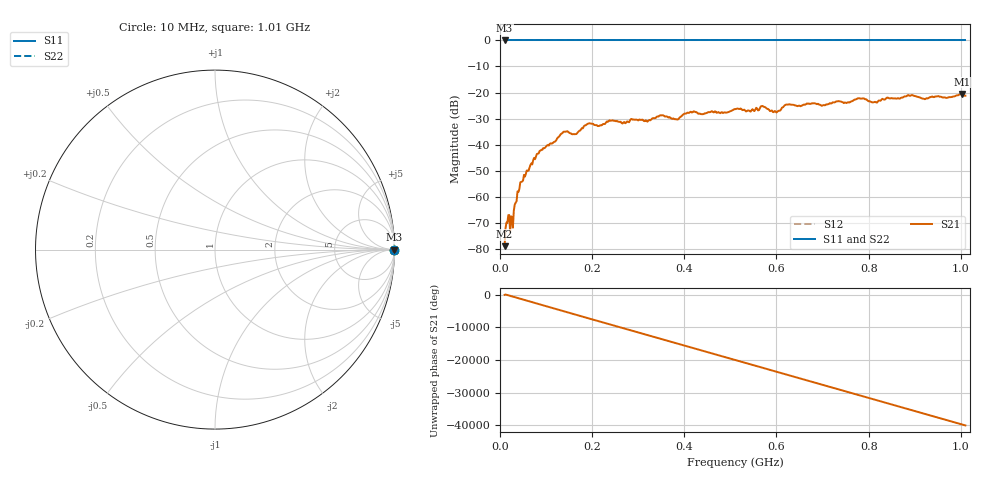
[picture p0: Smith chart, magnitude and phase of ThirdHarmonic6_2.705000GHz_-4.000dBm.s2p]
! 8/17/2025 6:29:58 AM
! C:\ANRITSUVNA\TEMP\TEMP.S2P
! CHANNEL.1
! TR.MEASUREMENT
! RAW.DATA
! RF.CORRECTION.OFF
! AVERAGING.OFF
! IF.BANDWIDTH: 5KHZ
! SWEEPTYPE:  FREQ.SWEEP(Linear)
! Reference Plane Port Info
! PORT:  PORT1  PORT2
! DISTANCE:  0  m  0  m
! TIME:  0  s  0  s
! PHASE.OFFSET:  0  deg.  0  deg.
! LOSS:  0  dB  0  dB
! REF.LOSS:  0  dB  0  dB
! REF.FREQ:  0  Hz  0  Hz
! Power Info
! POWER:  -20  dBm  -20  dBm
! EFF.POWER:  -20  dBm  -20  dBm
! SOURCE.ATTEN:  0  dB  0  dB
! TEST.ATTEN:  0  dB  0  dB
# GHZ S RI R 50.0
! FREQ.GHZ  S11RE  S11IM  S21RE  S21IM  S12RE  S12IM  S22RE  S22IM
!; PortSelection: Port_12
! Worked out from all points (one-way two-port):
!   501 points, 10 MHz to 1.01 GHz, reference 50 ohm
!   highest |S21| = -20.55 dB at 1.002 GHz (marker M1); lowest = -79.0 dB at 10 MHz (marker M2)
!   lowest |S11| = 0.0 dB at 10 MHz (marker M3)
!   |S11| at or under -10 dB: nowhere
!   |S22| runs from 0.0 to 0.0 dB; largest |S21 - S12| = 1.1
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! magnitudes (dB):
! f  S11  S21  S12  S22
! 10 MHz  0.0  -79.0  0.0  0.0
! 16 MHz  0.0  -70.0  0.0  0.0
! 26 MHz  0.0  -67.8  0.0  0.0
! 42 MHz  0.0  -57.1  0.0  0.0
! 76 MHz  0.0  -45.6  0.0  0.0
! 136 MHz  0.0  -35.5  0.0  0.0
! 162 MHz  0.0  -36.0  0.0  0.0
! 178 MHz  0.0  -33.6  0.0  0.0
! 194 MHz  0.0  -31.8  0.0  0.0
! 318 MHz  0.0  -31.0  0.0  0.0
! 344 MHz  0.0  -29.3  0.0  0.0
! 384 MHz  0.0  -30.4  0.0  0.0
! 418 MHz  0.0  -27.6  0.0  0.0
! 510 MHz  0.0  -26.4  0.0  0.0
! 570 MHz  0.0  -25.2  0.0  0.0
! 598 MHz  0.0  -27.3  0.0  0.0
! 624 MHz  0.0  -24.6  0.0  0.0
! 678 MHz  0.0  -24.1  0.0  0.0
! 814 MHz  0.0  -23.6  0.0  0.0
! 844 MHz  0.0  -22.2  0.0  0.0
! 1.002 GHz  0.0  -20.5  0.0  0.0
! 1.01 GHz  0.0  -21.2  0.0  0.0
